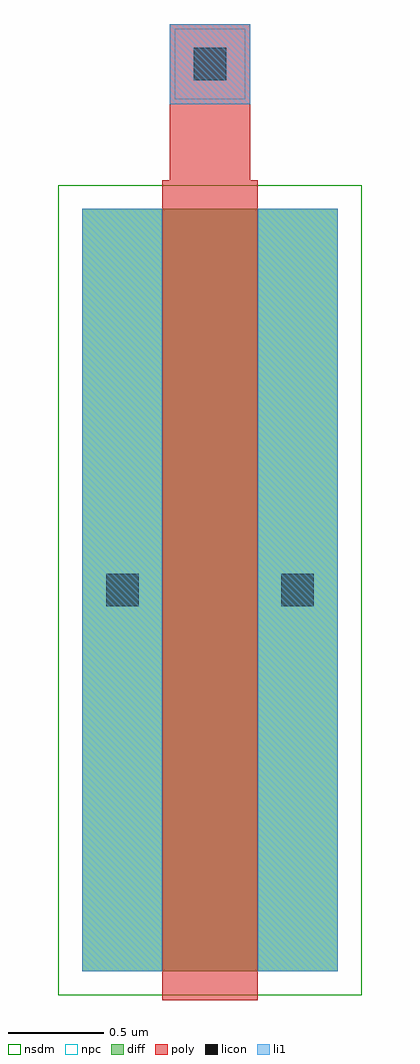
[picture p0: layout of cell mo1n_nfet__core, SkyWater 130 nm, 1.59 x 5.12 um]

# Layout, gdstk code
import gdstk
lib = gdstk.Library(unit=1e-6, precision=1e-09)
def R(c, l, rs):  # rectangles x0, y0, x1, y1
    for r in rs: c.add(gdstk.rectangle(r[:2], r[2:], *l))
diff = (65, 20)
poly = (66, 20)
licon = (66, 44)
li1 = (67, 20)
nsdm = (93, 44)
npc = (95, 20)

mo1n_nfet__core = lib.new_cell('mo1n_nfet__core')
R(mo1n_nfet__core, diff, [(0,0,1.34,4)])
R(mo1n_nfet__core, poly, [(0.42,-0.15,0.92,4), (0.42,4,0.92,4.15), (0.42,4,0.92,4.15), (0.46,4.15,0.88,4.97)])
R(mo1n_nfet__core, licon, [(0.125,1.915,0.295,2.085), (1.045,1.915,1.215,2.085), (0.585,4.675,0.755,4.845)])
R(mo1n_nfet__core, li1, [(0,0,0.42,4), (0.92,0,1.34,4), (0.46,4.55,0.88,4.97)])
R(mo1n_nfet__core, nsdm, [(-0.125,-0.125,1.465,4.125)])
R(mo1n_nfet__core, npc, [(0.485,4.575,0.855,4.945)])

lib.write_gds('mo1n_nfet__core.gds')
